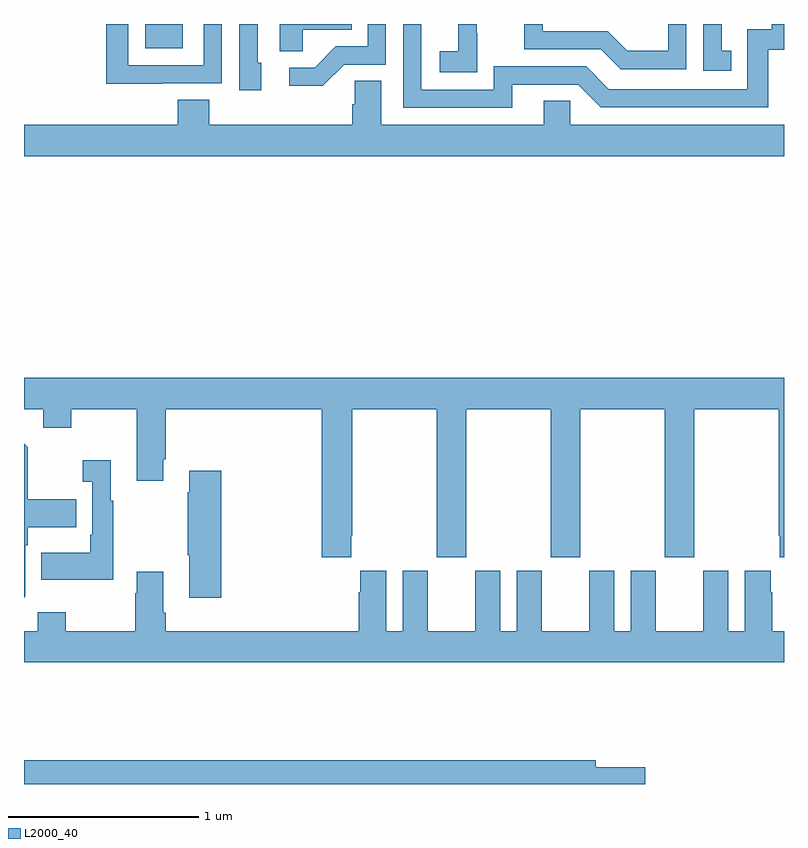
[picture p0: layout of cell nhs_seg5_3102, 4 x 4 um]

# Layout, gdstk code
import gdstk
lib = gdstk.Library(unit=1e-6, precision=1e-09)
def R(c, l, rs):  # rectangles x0, y0, x1, y1
    for r in rs: c.add(gdstk.rectangle(r[:2], r[2:], *l))
def P(c, l, *ps):  # polygons
    for p in ps: c.add(gdstk.Polygon(p, *l))
L2000_40 = (2000, 40)

nhs_seg5_3102 = lib.new_cell('nhs_seg5_3102')
R(nhs_seg5_3102, L2000_40, [(291.638,846.671,291.835,846.799)])
P(nhs_seg5_3102, L2000_40, [(291.725,846.486),(292.041,846.486),(292.041,846.799),(291.945,846.799),(291.945,846.582),(291.549,846.582),(291.549,846.799),(291.433,846.799),(291.433,846.485),(291.725,846.485)],
  [(294.722,846.657),(294.673,846.657),(294.673,846.799),(294.576,846.799),(294.576,846.552),(294.722,846.552)],
  [(294.486,846.799),(294.39,846.799),(294.39,846.658),(294.176,846.658),(294.072,846.762),(293.73,846.762),(293.73,846.799),(293.632,846.799),(293.632,846.666),(294.035,846.666),(294.14,846.561),(294.486,846.561)],
  [(293.385,846.751),(293.384,846.751),(293.384,846.799),(293.285,846.799),(293.285,846.655),(293.187,846.655),(293.187,846.545),(293.385,846.545)],
  [(293.569,846.48),(293.916,846.48),(294.036,846.36),(294.916,846.36),(294.916,846.663),(295,846.663),(295,846.799),(294.936,846.799),(294.936,846.771),(294.807,846.771),(294.807,846.456),(294.078,846.456),(293.958,846.576),(293.472,846.576),(293.472,846.453),(293.091,846.453),(293.091,846.799),(292.995,846.799),(292.995,846.357),(293.569,846.357)],
  [(292.249,846.594),(292.23,846.594),(292.23,846.799),(292.134,846.799),(292.134,846.45),(292.249,846.45)],
  [(292.467,846.77),(292.724,846.77),(292.724,846.799),(292.346,846.799),(292.346,846.655),(292.467,846.655)],
  [(292.686,846.585),(292.905,846.585),(292.905,846.799),(292.809,846.799),(292.809,846.681),(292.64,846.681),(292.529,846.57),(292.395,846.57),(292.395,846.473),(292.573,846.473)],
  [(295,846.268),(293.874,846.268),(293.874,846.395),(293.735,846.395),(293.735,846.268),(292.879,846.268),(292.879,846.5),(292.74,846.5),(292.74,846.377),(292.727,846.377),(292.727,846.268),(291.974,846.268),(291.974,846.401),(291.809,846.401),(291.809,846.268),(291,846.268),(291,846.104),(295,846.104)],
  [(292.723,844.105),(292.728,844.105),(292.728,844.772),(293.173,844.772),(293.173,843.993),(293.328,843.993),(293.328,844.772),(293.773,844.772),(293.773,843.993),(293.928,843.993),(293.928,844.772),(294.373,844.772),(294.373,843.993),(294.528,843.993),(294.528,844.772),(294.973,844.772),(294.973,844.105),(294.977,844.105),(294.977,843.993),(295,843.993),(295,844.936),(291,844.936),(291,844.772),(291.101,844.772),(291.101,844.673),(291.249,844.673),(291.249,844.772),(291.593,844.772),(291.593,844.395),(291.733,844.395),(291.733,844.507),(291.746,844.507),(291.746,844.772),(292.568,844.772),(292.568,843.993),(292.723,843.993)],
  [(291.006,843.786),(291.006,844.055),(291.019,844.055),(291.019,844.151),(291.275,844.151),(291.275,844.299),(291.019,844.299),(291.019,844.571),(291,844.59),(291,843.78)],
  [(291.469,844.291),(291.457,844.291),(291.457,844.504),(291.309,844.504),(291.309,844.391),(291.36,844.391),(291.36,844.111),(291.348,844.111),(291.348,844.015),(291.091,844.015),(291.091,843.875),(291.469,843.875)],
  [(292.037,844.447),(291.869,844.447),(291.869,844.334),(291.862,844.334),(291.862,844.003),(291.869,844.003),(291.869,843.78),(292.037,843.78)],
  [(295,843.604),(294.938,843.604),(294.938,843.809),(294.931,843.809),(294.931,843.922),(294.794,843.922),(294.794,843.604),(294.706,843.604),(294.706,843.922),(294.575,843.922),(294.575,843.604),(294.325,843.604),(294.325,843.922),(294.194,843.922),(294.194,843.604),(294.106,843.604),(294.106,843.922),(293.975,843.922),(293.975,843.604),(293.725,843.604),(293.725,843.922),(293.594,843.922),(293.594,843.604),(293.506,843.604),(293.506,843.922),(293.375,843.922),(293.375,843.604),(293.125,843.604),(293.125,843.922),(292.994,843.922),(292.994,843.604),(292.906,843.604),(292.906,843.922),(292.769,843.922),(292.769,843.809),(292.763,843.809),(292.763,843.604),(291.746,843.604),(291.746,843.7),(291.733,843.7),(291.733,843.916),(291.593,843.916),(291.593,843.803),(291.586,843.803),(291.586,843.604),(291.219,843.604),(291.219,843.703),(291.072,843.703),(291.072,843.604),(291,843.604),(291,843.44),(295,843.44)],
  [(294.271,842.888),(294.01,842.888),(294.01,842.924),(291,842.924),(291,842.799),(294.271,842.799)])

lib.write_gds('nhs_seg5_3102.gds')
